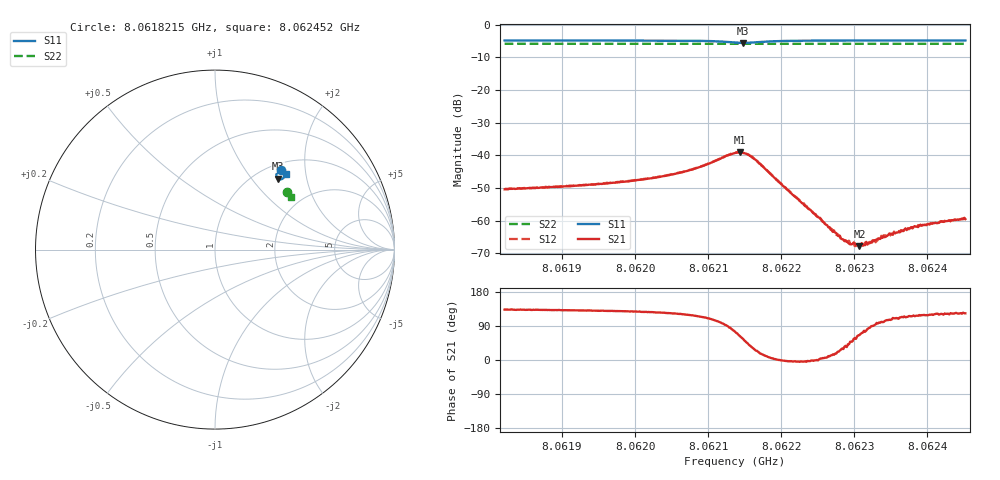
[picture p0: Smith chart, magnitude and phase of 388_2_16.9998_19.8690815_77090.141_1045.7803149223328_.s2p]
#  HZ  S  RI  R  50.00
! Rohde & Schwarz Vector Network Analyzer
! Rohde-Schwarz,ZNB20-2Port,1311601062101988,3.16
! Created: UTC 3/20/2024, 11:09:26 PM
! freq[Hz]  re:S11  im:S11  re:S21  im:S21  re:S12  im:S12  re:S22  im:S22
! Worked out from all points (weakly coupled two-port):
!   401 points, 8.0618215 GHz to 8.062452 GHz, reference 50 ohm
!   highest |S21| = -39.01 dB at 8.062143 GHz (marker M1); lowest = -67.7 dB at 8.062307 GHz (marker M2)
!   lowest |S11| = -5.5 dB at 8.0621478 GHz (marker M3), VSWR 3.24, Z = 62.2 + j68.4 ohm
!   |S11| at or under -10 dB: nowhere
!   |S22| runs from -5.9 to -5.8 dB; largest |S21 - S12| = 0.00082
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8.06182153e9  0.3656 0.4451  -0.00206 0.00221  -0.00197 0.00233  0.3985 0.3222
8.06192713e9  0.3728 0.4387  -0.00227 0.00264  -0.00213 0.00279  0.4024 0.3171
8.06198859e9  0.3776 0.4339  -0.00248 0.00314  -0.00233 0.00328  0.4048 0.314
8.06203272e9  0.3814 0.4289  -0.00269 0.0038  -0.00247 0.00402  0.4065 0.3114
8.06207843e9  0.3854 0.4199  -0.00285 0.00538  -0.00255 0.00557  0.408 0.309
8.06213674e9  0.3658 0.3913  0.00284 0.0105  0.00347 0.0104  0.4087 0.3051
8.06214305e9  0.3568 0.3925  0.00497 0.01  0.00549 0.00969  0.4085 0.3051
8.06214777e9  0.3503 0.3959  0.00612 0.00897  0.00688 0.00866  0.4084 0.3051
8.06216353e9  0.3418 0.4163  0.00775 0.00407  0.00812 0.00365  0.409 0.3054
8.06224234e9  0.3726 0.4345  0.00137 -2.39e-05  0.00138 -0.000109  0.4132 0.3021
8.06228489e9  0.3791 0.4318  0.000452 0.000248  0.000471 0.000231  0.4148 0.2998
8.06229435e9  0.3802 0.4311  0.000289 0.000324  0.000329 0.000306  0.4152 0.2993
8.06229907e9  0.3808 0.4306  0.000259 0.000382  0.000283 0.000359  0.4154 0.2991
8.06230695e9  0.3816 0.4304  0.000169 0.000375  0.000193 0.000384  0.4158 0.2986
8.06232114e9  0.3832 0.4293  3.82e-05 0.000451  3.8e-05 0.000471  0.4163 0.2978
8.06232429e9  0.3833 0.4291  2.36e-06 0.000465  4.21e-05 0.000492  0.4163 0.2977
8.06233217e9  0.3841 0.4285  -6.05e-05 0.000529  -3.1e-05 0.000505  0.4166 0.2972
8.06234005e9  0.3848 0.4281  -0.000102 0.000569  -6.41e-05 0.000592  0.417 0.2968
8.06234793e9  0.3854 0.4276  -0.00018 0.000612  -0.000129 0.000562  0.4172 0.2965
8.06235739e9  0.3861 0.4271  -0.000235 0.000614  -0.000187 0.000637  0.4175 0.2959
8.06239049e9  0.3887 0.4251  -0.000393 0.000762  -0.00037 0.000788  0.4187 0.2942
8.06245195e9  0.3929 0.4216  -0.000578 0.000885  -0.000571 0.000949  0.4209 0.291
